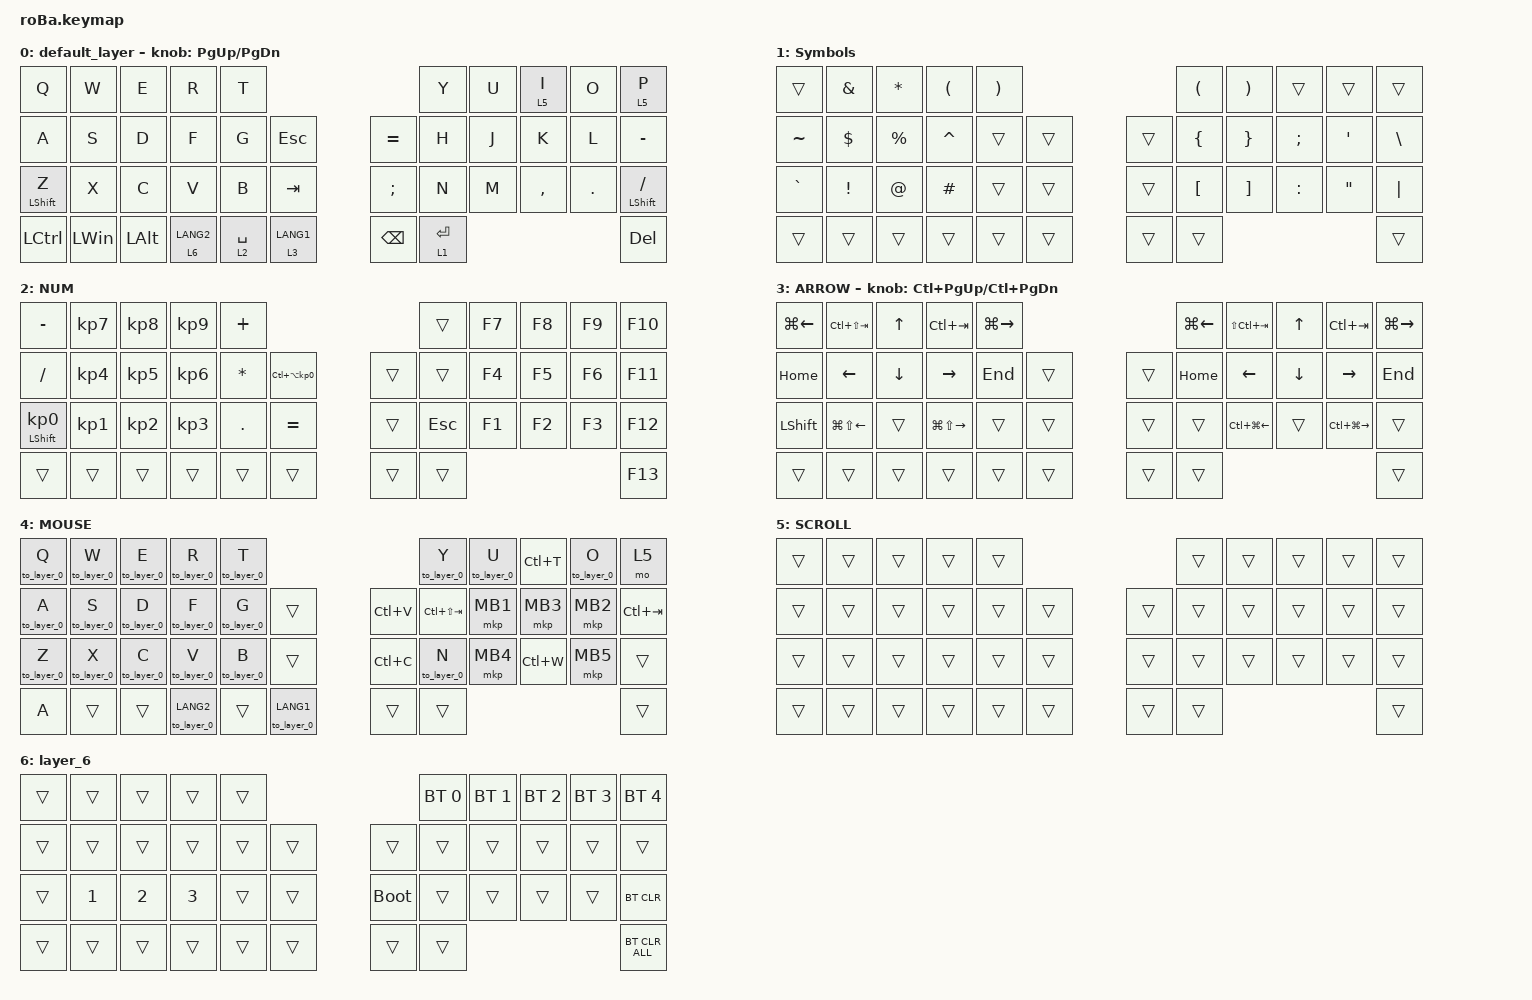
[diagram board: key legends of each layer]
#include <behaviors.dtsi>
#include <dt-bindings/zmk/bt.h>
#include <dt-bindings/zmk/keys.h>
#include <dt-bindings/zmk/pointing.h>

#define MOUSE 4
#define SCROLL 5
#define NUM 6

&mt {
    flavor = "balanced";
    quick-tap-ms = <0>;
};

/ {
    combos {
        compatible = "zmk,combos";

        tab {
            bindings = <&kp TAB>;
            key-positions = <11 12>;
        };

        shift_tab {
            bindings = <&kp LS(TAB)>;
            key-positions = <12 13>;
        };

        muhennkann {
            bindings = <&to_layer_0 INT_MUHENKAN>;
            key-positions = <11 10>;
        };

        double_quotation {
            bindings = <&kp DOUBLE_QUOTES>;
            key-positions = <20 21>;
        };

        eq {
            bindings = <&kp EQUAL>;
            key-positions = <24 25>;
        };
    };

    macros {
        to_layer_0: to_layer_0 {
            compatible = "zmk,behavior-macro-one-param";
            #binding-cells = <1>;
            bindings = <&to 0 &macro_param_1to1 &kp MACRO_PLACEHOLDER>;
            label = "TO_LAYER_0";
        };
    };

    behaviors {
        lt_to_layer_0: lt_to_layer_0 {
            compatible = "zmk,behavior-hold-tap";
            label = "LAYER_TAP_TO_0";
            bindings = <&mo>, <&to_layer_0>;

            #binding-cells = <2>;
            tapping-term-ms = <200>;
        };
    };

    keymap {
        compatible = "zmk,keymap";

        default_layer {
            bindings = <
&kp Q             &kp W         &kp E         &kp R                   &kp T                                                   &kp Y        &kp U  &lt 5 I    &kp O    &lt 5 P
&kp A             &kp S         &kp D         &kp F                   &kp G        &kp ESC                     &kp EQUAL      &kp H        &kp J  &kp K      &kp L    &kp MINUS
&mt LEFT_SHIFT Z  &kp X         &kp C         &kp V                   &kp B        &kp TAB                     &kp SEMICOLON  &kp N        &kp M  &kp COMMA  &kp DOT  &mt LEFT_SHIFT SLASH
&kp LCTRL         &kp LEFT_WIN  &kp LEFT_ALT  &lt_to_layer_0 6 LANG2  &lt 2 SPACE  &lt_to_layer_0 3 LANG1      &kp BACKSPACE  &lt 1 ENTER                             &kp DEL
            >;

            sensor-bindings = <&inc_dec_kp PG_UP PAGE_DOWN>;
        };

        Symbols {
            bindings = <
&trans     &kp AMPERSAND  &kp ASTERISK  &kp LEFT_PARENTHESIS  &kp RIGHT_PARENTHESIS                      &kp LEFT_PARENTHESIS  &kp RIGHT_PARENTHESIS  &trans         &trans             &trans
&kp TILDE  &kp DOLLAR     &kp PERCENT   &kp CARET             &trans                 &trans      &trans  &kp LEFT_BRACE        &kp RIGHT_BRACE        &kp SEMICOLON  &kp APOSTROPHE     &kp BACKSLASH
&kp GRAVE  &kp EXCL       &kp AT        &kp POUND             &trans                 &trans      &trans  &kp LEFT_BRACKET      &kp RBKT               &kp COLON      &kp DOUBLE_QUOTES  &kp PIPE
&trans     &trans         &trans        &trans                &trans                 &trans      &trans  &trans                                                                         &trans
            >;
        };

        NUM {
            bindings = <
&kp MINUS                   &kp KP_NUMBER_7  &kp KP_NUMBER_8  &kp KP_NUMBER_9  &kp PLUS                                           &trans      &kp F7  &kp F8  &kp F9  &kp F10
&kp SLASH                   &kp KP_NUMBER_4  &kp KP_NUMBER_5  &kp KP_NUMBER_6  &kp ASTERISK  &kp LC(LA(KP_NUMBER_0))      &trans  &trans      &kp F4  &kp F5  &kp F6  &kp F11
&mt LEFT_SHIFT KP_NUMBER_0  &kp KP_NUMBER_1  &kp KP_NUMBER_2  &kp KP_NUMBER_3  &kp PERIOD    &kp EQUAL                    &trans  &kp ESCAPE  &kp F1  &kp F2  &kp F3  &kp F12
&trans                      &trans           &trans           &trans           &trans        &trans                       &trans  &trans                              &kp F13
            >;
        };

        ARROW {
            bindings = <
&kp LG(LEFT_ARROW)  &kp LC(LS(TAB))         &kp UP_ARROW    &kp LC(TAB)              &kp LG(RIGHT_ARROW)                      &kp LG(LEFT_ARROW)  &kp LS(LC(TAB))         &kp UP_ARROW    &kp LC(TAB)        &kp LG(RIGHT_ARROW)
&kp HOME            &kp LEFT_ARROW          &kp DOWN_ARROW  &kp RIGHT_ARROW          &kp END              &trans      &trans  &kp HOME            &kp LEFT_ARROW          &kp DOWN_ARROW  &kp RIGHT_ARROW    &kp END
&kp LEFT_SHIFT      &kp LG(LS(LEFT_ARROW))  &trans          &kp LG(LS(RIGHT_ARROW))  &trans               &trans      &trans  &trans              &kp LC(LG(LEFT_ARROW))  &trans          &kp LC(LG(RIGHT))  &trans
&trans              &trans                  &trans          &trans                   &trans               &trans      &trans  &trans                                                                         &trans
            >;

            sensor-bindings = <&inc_dec_kp LC(PAGE_UP) LC(PAGE_DOWN)>;
        };

        MOUSE {
            bindings = <
&to_layer_0 Q  &to_layer_0 W  &to_layer_0 E  &to_layer_0 R      &to_layer_0 T                                    &to_layer_0 Y    &to_layer_0 U  &kp LC(T)  &to_layer_0 O  &mo 5
&to_layer_0 A  &to_layer_0 S  &to_layer_0 D  &to_layer_0 F      &to_layer_0 G  &trans                 &kp LC(V)  &kp LC(LS(TAB))  &mkp MB1       &mkp MB3   &mkp MB2       &kp LC(TAB)
&to_layer_0 Z  &to_layer_0 X  &to_layer_0 C  &to_layer_0 V      &to_layer_0 B  &trans                 &kp LC(C)  &to_layer_0 N    &mkp MB4       &kp LC(W)  &mkp MB5       &trans
&kp A          &trans         &trans         &to_layer_0 LANG2  &trans         &to_layer_0 LANG1      &trans     &trans                                                    &trans
            >;
        };

        SCROLL {
            bindings = <
&trans  &trans  &trans  &trans  &trans                      &trans  &trans  &trans  &trans  &trans
&trans  &trans  &trans  &trans  &trans  &trans      &trans  &trans  &trans  &trans  &trans  &trans
&trans  &trans  &trans  &trans  &trans  &trans      &trans  &trans  &trans  &trans  &trans  &trans
&trans  &trans  &trans  &trans  &trans  &trans      &trans  &trans                          &trans
            >;
        };

        layer_6 {
            bindings = <
&trans  &trans        &trans        &trans        &trans                           &bt BT_SEL 0  &bt BT_SEL 1  &bt BT_SEL 2  &bt BT_SEL 3  &bt BT_SEL 4
&trans  &trans        &trans        &trans        &trans  &trans      &trans       &trans        &trans        &trans        &trans        &trans
&trans  &kp NUMBER_1  &kp NUMBER_2  &kp NUMBER_3  &trans  &trans      &bootloader  &trans        &trans        &trans        &trans        &bt BT_CLR
&trans  &trans        &trans        &trans        &trans  &trans      &trans       &trans                                                  &bt BT_CLR_ALL
            >;
        };
    };
};
